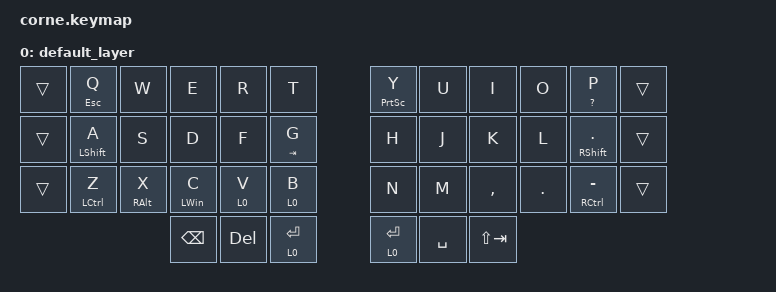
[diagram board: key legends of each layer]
/*
 * Copyright (c) 2020 The ZMK Contributors
 *
 * SPDX-License-Identifier: MIT
 */

#include "i18n.h"
#include <behaviors.dtsi>
#include <dt-bindings/zmk/keys.h>

/ {
    keymap {
        compatible = "zmk,keymap";

        default_layer {
            // -----------------------------------------------------------------------------------------
            // |  TAB |  Q  |  W  |  E  |  R  |  T  |   |  Y  |  U   |  I  |  O  |  P  | BKSP |
            // | CTRL |  A  |  S  |  D  |  F  |  G  |   |  H  |  J   |  K  |  L  |  ;  |  '   |
            // | SHFT |  Z  |  X  |  C  |  V  |  B  |   |  N  |  M   |  ,  |  .  |  /  | ESC  |
            //                    | GUI | LWR | SPC |   | ENT | RSE  | ALT |

            bindings = <
&trans  &mt ESCAPE Q        &kp W            &kp E           &kp R    &kp T          &mt PRINTSCREEN Y  &kp U      &kp I        &kp O    &mt QUESTION P           &trans
&trans  &mt LEFT_SHIFT A    &kp S            &kp D           &kp F    &mt TAB G      &kp H              &kp J      &kp K        &kp L    &mt RIGHT_SHIFT PERIOD   &trans
&trans  &mt LEFT_CONTROL Z  &mt RIGHT_ALT X  &mt LEFT_WIN C  &lt 0 V  &lt 0 B        &kp N              &kp M      &kp COMMA    &kp DOT  &mt RIGHT_CONTROL MINUS  &trans
                                             &kp BACKSPACE   &kp DEL  &lt 0 ENTER    &lt 0 ENTER        &kp SPACE  &kp LS(TAB)
            >;
        };
    };
};
